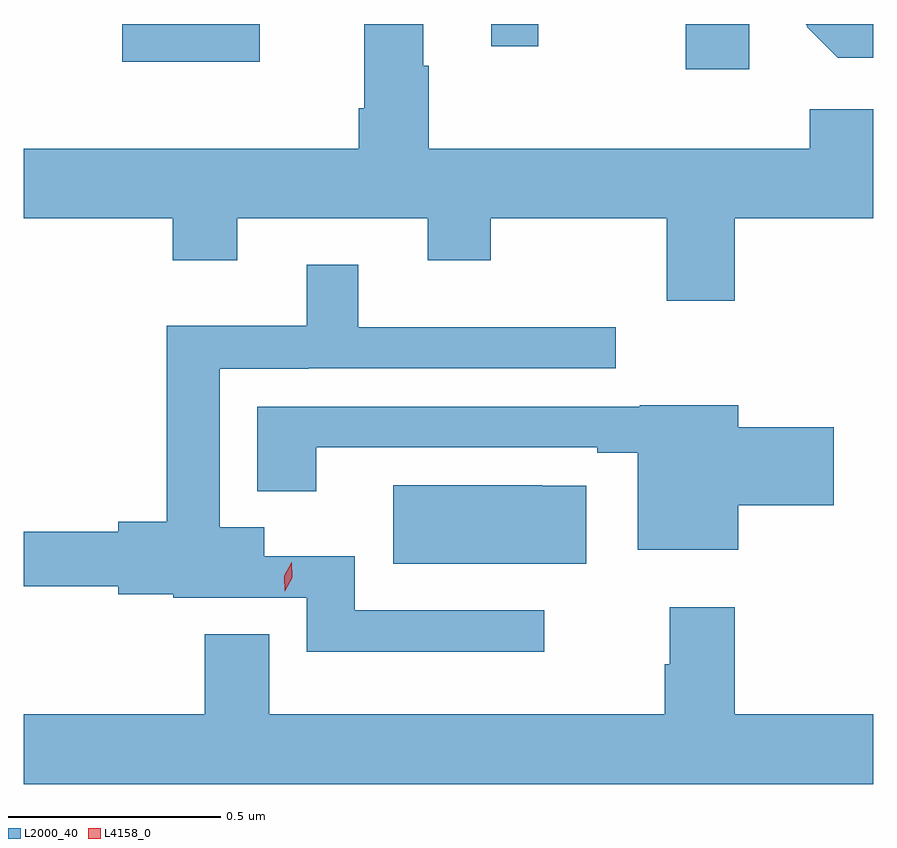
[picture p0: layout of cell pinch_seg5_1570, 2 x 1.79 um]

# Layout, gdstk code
import gdstk
lib = gdstk.Library(unit=1e-6, precision=1e-09)
def R(c, l, rs):  # rectangles x0, y0, x1, y1
    for r in rs: c.add(gdstk.rectangle(r[:2], r[2:], *l))
def P(c, l, *ps):  # polygons
    for p in ps: c.add(gdstk.Polygon(p, *l))
L2000_40 = (2000, 40)
L4158_0 = (4158, 0)

pinch_seg5_1570 = lib.new_cell('pinch_seg5_1570')
R(pinch_seg5_1570, L2000_40, [(371.383,845.124,371.532,845.23), (370.056,845.141,370.38,845.23), (370.925,845.178,371.035,845.23)])
P(pinch_seg5_1570, L2000_40, [(371.498,844.772),(371.824,844.772),(371.824,845.029),(371.675,845.029),(371.675,844.936),(370.778,844.936),(370.778,845.132),(370.765,845.132),(370.765,845.23),(370.625,845.23),(370.625,845.032),(370.613,845.032),(370.613,844.936),(369.824,844.936),(369.824,844.772),(370.175,844.772),(370.175,844.673),(370.327,844.673),(370.327,844.772),(370.775,844.772),(370.775,844.673),(370.923,844.673),(370.923,844.772),(371.338,844.772),(371.338,844.578),(371.498,844.578)],
  [(371.824,845.23),(371.665,845.23),(371.67,845.225),(371.668,845.224),(371.741,845.151),(371.824,845.151)],
  [(371.05,843.849),(370.603,843.849),(370.603,843.976),(370.39,843.976),(370.39,844.045),(370.285,844.045),(370.285,844.418),(370.494,844.418),(370.494,844.419),(371.218,844.419),(371.218,844.516),(370.612,844.516),(370.612,844.663),(370.49,844.663),(370.49,844.519),(370.16,844.519),(370.16,844.058),(370.046,844.058),(370.046,844.034),(369.824,844.034),(369.824,843.906),(370.046,843.906),(370.046,843.887),(370.176,843.887),(370.176,843.879),(370.49,843.879),(370.49,843.752),(371.05,843.752)],
  [(371.506,844.097),(371.731,844.097),(371.731,844.28),(371.506,844.28),(371.506,844.332),(371.274,844.332),(371.274,844.329),(370.373,844.329),(370.373,844.13),(370.513,844.13),(370.513,844.233),(371.174,844.233),(371.174,844.22),(371.27,844.22),(371.27,843.992),(371.506,843.992)],
  [(371.148,844.143),(371.045,844.143),(371.045,844.144),(370.694,844.144),(370.694,843.959),(371.148,843.959)],
  [(371.824,843.604),(371.498,843.604),(371.498,843.856),(371.345,843.856),(371.345,843.722),(371.333,843.722),(371.333,843.604),(370.402,843.604),(370.402,843.793),(370.25,843.793),(370.25,843.604),(369.824,843.604),(369.824,843.44),(371.824,843.44)])
P(pinch_seg5_1570, L4158_0, [(370.438,843.894),(370.438,843.894),(370.437,843.93),(370.455,843.962),(370.455,843.962),(370.455,843.962),(370.456,843.926),(370.438,843.894)])

lib.write_gds('pinch_seg5_1570.gds')
